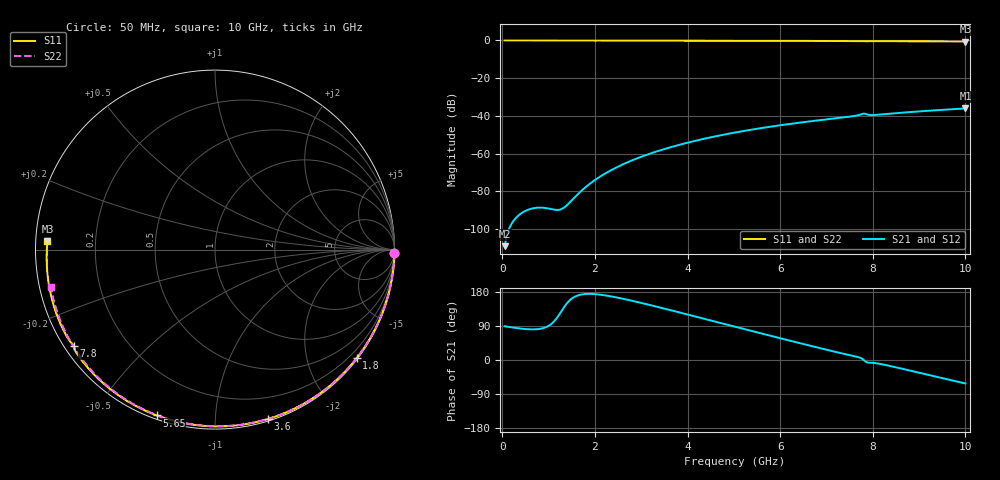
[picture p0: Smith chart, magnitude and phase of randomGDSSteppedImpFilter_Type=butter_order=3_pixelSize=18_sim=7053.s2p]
! freq	dB(S11)	phase(S11)	dB(S12)	phase(S12)
!  dB(S21)	phase(S21)	dB(S22)	phase(S22)
!S-par simulation data
#  GHz  S  DB  R 50
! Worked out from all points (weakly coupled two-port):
!   200 points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, 50 MHz to 10 GHz, reference 50 ohm
!   highest |S21| = -36.04 dB at 10 GHz (marker M1); lowest = -109.0 dB at 50 MHz (marker M2)
!   lowest |S11| = -0.6 dB at 10 GHz (marker M3), VSWR 29.55, Z = 1.69 + j1.27 ohm
!   |S11| at or under -10 dB: nowhere
!   |S22| runs from -0.6 to 0.0 dB; largest |S21 - S12| = 0
!   S11 on the Smith chart (normalised r, x): 50 MHz: open; 1.8 GHz: 0.03, -2.94; 3.6 GHz: 0.02, -1.36; 5.65 GHz: 0.02, -0.71; 7.8 GHz: 0.03, -0.31; 10 GHz: 0.03, +0.03
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0.05  -0.00 -1.1  -108.99 89.0  -108.99 89.0  -0.00 -1.0
0.8  -0.02 -16.9  -88.55 82.0  -88.55 82.0  -0.02 -15.4
1.2  -0.03 -25.2  -89.79 114.5  -89.79 114.5  -0.03 -23.0
1.65  -0.04 -34.5  -81.00 171.1  -81.00 171.1  -0.04 -31.5
1.7  -0.05 -35.5  -79.85 172.7  -79.85 172.7  -0.04 -32.4
1.75  -0.05 -36.5  -78.75 173.7  -78.75 173.7  -0.04 -33.3
1.8  -0.05 -37.5  -77.69 174.2  -77.69 174.2  -0.04 -34.2
2.1  -0.06 -43.6  -72.31 172.6  -72.31 172.6  -0.05 -39.8
2.45  -0.06 -50.6  -67.45 165.5  -67.45 165.5  -0.06 -46.2
2.9  -0.08 -59.4  -62.57 153.5  -62.57 153.5  -0.07 -54.3
3.4  -0.09 -69.0  -58.28 138.7  -58.28 138.7  -0.08 -63.1
3.6  -0.10 -72.7  -56.80 132.5  -56.80 132.5  -0.09 -66.6
4.3  -0.12 -85.6  -52.40 110.6  -52.40 110.6  -0.11 -78.5
5.05  -0.15 -99.0  -48.67 87.0  -48.67 87.0  -0.14 -90.8
5.65  -0.18 -109.4  -46.20 68.3  -46.20 68.3  -0.17 -100.4
6.7  -0.25 -127.1  -42.69 36.1  -42.69 36.1  -0.23 -116.7
7.55  -0.31 -141.3  -40.20 11.4  -40.20 11.4  -0.29 -129.6
7.8  -0.41 -145.7  -38.75 0.6  -38.75 0.6  -0.31 -133.4
7.95  -0.39 -147.5  -39.55 -7.2  -39.55 -7.2  -0.32 -135.7
8.35  -0.40 -154.3  -38.83 -15.2  -38.83 -15.2  -0.36 -141.7
9.2  -0.49 -168.8  -37.23 -39.2  -37.23 -39.2  -0.46 -154.7
10  -0.59 177.1  -36.04 -62.0  -36.04 -62.0  -0.56 -167.1
